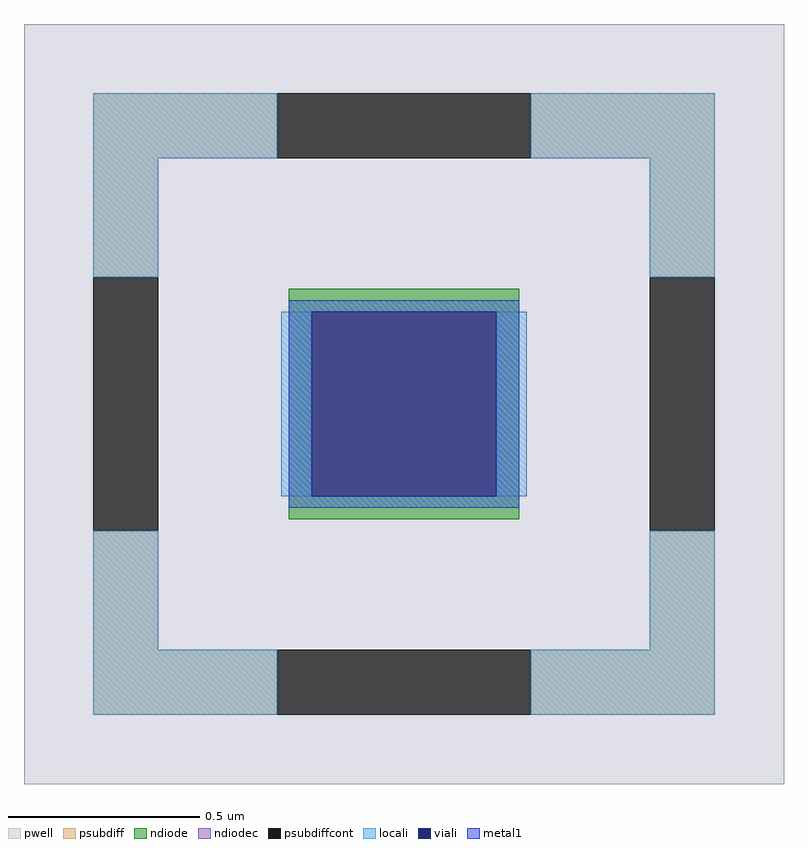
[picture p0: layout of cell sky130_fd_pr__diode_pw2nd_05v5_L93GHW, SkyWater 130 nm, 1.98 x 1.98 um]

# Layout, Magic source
magic
tech sky130A
<< pwell >>
rect -99 -99 99 99
<< psubdiff >>
rect -81 64 -33 81
rect 33 64 81 81
rect -81 33 -64 64
rect 64 33 81 64
rect -81 -64 -64 -33
rect 64 -64 81 -33
rect -81 -81 -33 -64
rect 33 -81 81 -64
<< psubdiffcont >>
rect -33 64 33 81
rect -81 -33 -64 33
rect 64 -33 81 33
rect -33 -81 33 -64
<< ndiode >>
rect -30 24 30 30
rect -30 -24 -24 24
rect 24 -24 30 24
rect -30 -30 30 -24
<< ndiodec >>
rect -24 -24 24 24
<< locali >>
rect -81 64 -33 81
rect 33 64 81 81
rect -81 33 -64 64
rect 64 33 81 64
rect -32 -24 -24 24
rect 24 -24 32 24
rect -81 -64 -64 -33
rect 64 -64 81 -33
rect -81 -81 -33 -64
rect 33 -81 81 -64
<< viali >>
rect -24 -24 24 24
<< metal1 >>
rect -30 24 30 27
rect -30 -24 -24 24
rect 24 -24 30 24
rect -30 -27 30 -24
<< properties >>
string FIXED_BBOX -72 -72 72 72
string gencell sky130_fd_pr__diode_pw2nd_05v5
string library sky130
string parameters w 0.6 l 0.6 area 360.0m peri 2.4 nx 1 ny 1 dummy 0 lmin 0.45 wmin 0.45 elc 1 erc 1 etc 1 ebc 1 doverlap 0 compatible {sky130_fd_pr__diode_pw2nd_05v5 sky130_fd_pr__diode_pw2nd_05v5_lvt  sky130_fd_pr__diode_pw2nd_05v5_nvt sky130_fd_pr__diode_pw2nd_11v0} full_metal 1 vias 1 viagb 0 viagt 0 viagl 0 viagr 0
<< end >>
